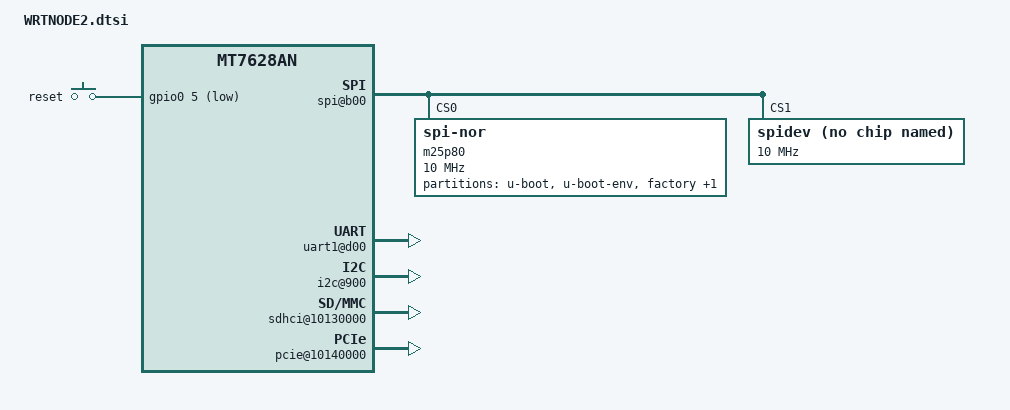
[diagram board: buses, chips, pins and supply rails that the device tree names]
/include/ "mt7628an.dtsi"

/ {
	chosen {
		bootargs = "console=ttyS0,115200";
	};

	palmbus@10000000 {
		spi@b00 {
			status = "okay";

			m25p80@0 {
				#address-cells = <1>;
				#size-cells = <1>;
				compatible = "jedec,spi-nor";
				reg = <0 0>;
				spi-max-frequency = <10000000>;
				m25p,chunked-io = <32>;

				partition@0 {
					label = "u-boot";
					reg = <0x0 0x30000>;
					read-only;
				};

				partition@30000 {
					label = "u-boot-env";
					reg = <0x30000 0x10000>;
					read-only;
				};

				factory: partition@40000 {
					label = "factory";
					reg = <0x40000 0x10000>;
					read-only;
				};

				partition@50000 {
					label = "firmware";
					reg = <0x50000 0x1fb0000>;
				};
			};


			spidev@1 {
				#address-cells = <1>;
				#size-cells = <1>;
				compatible = "spidev";
				reg = <1 0>;
				linux,modalias = "spidev", "spidev";
				spi-max-frequency = <10000000>;
			};
		};

		uart1@d00 {
			status = "okay";
		};

		i2c@900 {
			status = "okay";
		};

	};

	ethernet@10100000 {
		mtd-mac-address = <&factory 0x4>;
		ralink,port-map = "llllw";
	};

	sdhci@10130000 {
		status = "okay";
	};

	pcie@10140000 {
		status = "okay";
	};


	gpio-keys-polled {
		compatible = "gpio-keys-polled";
		#address-cells = <1>;
		#size-cells = <0>;
		poll-interval = <20>;

		reset {
			label = "reset";
			gpios = <&gpio0 5 1>;
			linux,code = <0x198>;
		};
	};

};

